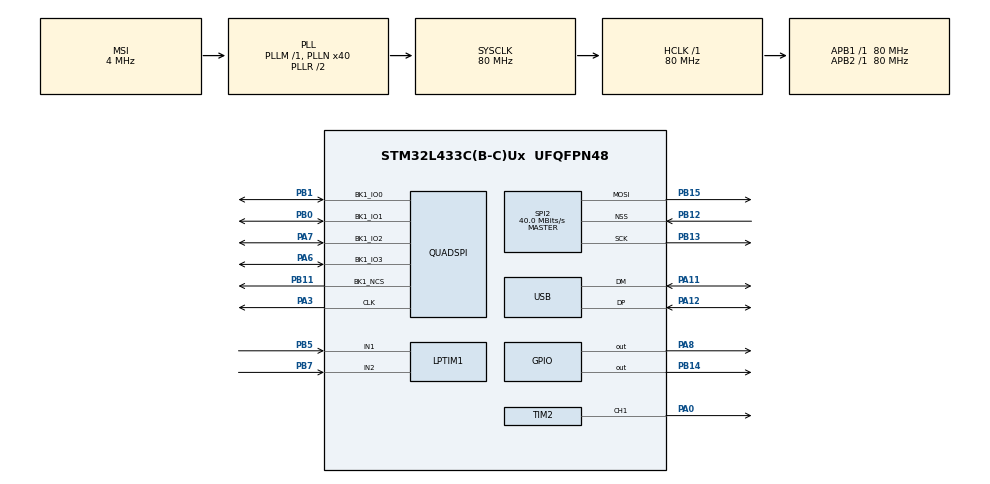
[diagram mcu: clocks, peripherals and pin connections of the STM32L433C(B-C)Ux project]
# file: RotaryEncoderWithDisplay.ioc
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Dma.Request0=SPI2_TX
Dma.SPI2_TX.0.Direction=DMA_MEMORY_TO_PERIPH
Dma.SPI2_TX.0.Instance=DMA1_Channel5
Dma.SPI2_TX.0.MemDataAlignment=DMA_MDATAALIGN_BYTE
Dma.SPI2_TX.0.MemInc=DMA_MINC_ENABLE
Dma.SPI2_TX.0.Mode=DMA_NORMAL
Dma.SPI2_TX.0.PeriphDataAlignment=DMA_PDATAALIGN_BYTE
Dma.SPI2_TX.0.PeriphInc=DMA_PINC_DISABLE
Dma.SPI2_TX.0.Priority=DMA_PRIORITY_LOW
LPTIM1.ULPClockPolarity=LPTIM_CLOCKPOLARITY_RISING_FALLING
Mcu.Family=STM32L4
Mcu.Name=STM32L433C(B-C)Ux
Mcu.Package=UFQFPN48
NVIC.DMA1_Channel5_IRQn=true\:0\:0\:false\:false\:true\:false\:true
NVIC.LPTIM1_IRQn=true\:0\:0\:false\:false\:true\:true\:true
NVIC.PriorityGroup=NVIC_PRIORITYGROUP_4
NVIC.TIM6_DAC_IRQn=true\:1\:0\:true\:false\:true\:true\:true
NVIC.TIM7_IRQn=true\:1\:0\:true\:false\:true\:true\:true
NVIC.USB_IRQn=true\:0\:0\:false\:false\:true\:false\:true
PA0.Signal=S_TIM2_CH1
PA11.Mode=Device
PA11.Signal=USB_DM
PA12.Mode=Device
PA12.Signal=USB_DP
PA13\ (JTMS-SWDIO).Mode=Trace_Asynchronous_SW
PA13\ (JTMS-SWDIO).Signal=SYS_JTMS-SWDIO
PA14\ (JTCK-SWCLK).Mode=Trace_Asynchronous_SW
PA14\ (JTCK-SWCLK).Signal=SYS_JTCK-SWCLK
PA3.Mode=Single Bank 1
PA3.Signal=QUADSPI_CLK
PA6.Mode=Single Bank 1
PA6.Signal=QUADSPI_BK1_IO3
PA7.Mode=Single Bank 1
PA7.Signal=QUADSPI_BK1_IO2
PA8.Signal=GPIO_Output
PB0.Mode=Single Bank 1
PB0.Signal=QUADSPI_BK1_IO1
PB1.Mode=Single Bank 1
PB1.Signal=QUADSPI_BK1_IO0
PB11.Mode=Single Bank 1
PB11.Signal=QUADSPI_BK1_NCS
PB12.Mode=NSS_Signal_Hard_Input
PB12.Signal=SPI2_NSS
PB13.Mode=TX_Only_Simplex_Unidirect_Master
PB13.Signal=SPI2_SCK
PB14.Signal=GPIO_Output
PB15.Mode=TX_Only_Simplex_Unidirect_Master
PB15.Signal=SPI2_MOSI
PB3\ (JTDO-TRACESWO).Mode=Trace_Asynchronous_SW
PB3\ (JTDO-TRACESWO).Signal=SYS_JTDO-SWO
PB5.Mode=Encoder_mode_occur1
PB5.Signal=LPTIM1_IN1
PB7.Mode=Encoder_mode_occur1
PB7.Signal=LPTIM1_IN2
ProjectManager.HeapSize=0x200
ProjectManager.StackSize=0x400
ProjectManager.TargetToolchain=STM32CubeIDE
QUADSPI.ClockPrescaler=1
QUADSPI.FlashSize=24
RCC.ADCFreq_Value=48000000
RCC.AHBFreq_Value=80000000
RCC.APB1Freq_Value=80000000
RCC.APB1TimFreq_Value=80000000
RCC.APB2Freq_Value=80000000
RCC.APB2TimFreq_Value=80000000
RCC.CortexFreq_Value=80000000
RCC.HCLKFreq_Value=80000000
RCC.HSE_VALUE=8000000
RCC.HSI48_VALUE=48000000
RCC.HSI_VALUE=16000000
RCC.LSE_VALUE=32768
RCC.MSI_VALUE=4000000
RCC.PLLN=40
RCC.PLLSAI1N=24
RCC.SYSCLKFreq_VALUE=80000000
RCC.SYSCLKSource=RCC_SYSCLKSOURCE_PLLCLK
RCC.USBFreq_Value=48000000
RCC.VCOOutputFreq_Value=160000000
SH.S_TIM2_CH1.0=TIM2_CH1,PWM Generation1 CH1
SPI2.BaudRatePrescaler=SPI_BAUDRATEPRESCALER_2
SPI2.CalculateBaudRate=40.0 MBits/s
SPI2.DataSize=SPI_DATASIZE_8BIT
SPI2.Direction=SPI_DIRECTION_2LINES
SPI2.Mode=SPI_MODE_MASTER
SPI2.VirtualNSS=VM_NSSHARD
SPI2.VirtualType=VM_MASTER
STMicroelectronics.X-CUBE-TOUCHGFX.4.18.0.ApplicationCcGraphicsJjApplication=TouchGFXOoGenerator
STMicroelectronics.X-CUBE-TOUCHGFX.4.18.0.tgfx_block_size=2880
STMicroelectronics.X-CUBE-TOUCHGFX.4.18.0.tgfx_buffering_strategy=Partial
STMicroelectronics.X-CUBE-TOUCHGFX.4.18.0.tgfx_custom_height=240
STMicroelectronics.X-CUBE-TOUCHGFX.4.18.0.tgfx_custom_width=240
STMicroelectronics.X-CUBE-TOUCHGFX.4.18.0.tgfx_oswrapper=NoOS
STMicroelectronics.X-CUBE-TOUCHGFX.4.18.0_IsPackSelfContextualization=true
TIM2.AutoReloadPreload=TIM_AUTORELOAD_PRELOAD_ENABLE
TIM2.Channel-PWM\ Generation1\ CH1=TIM_CHANNEL_1
TIM2.OCFastMode_PWM-PWM\ Generation1\ CH1=TIM_OCFAST_ENABLE
TIM2.Period=65535
TIM6.AutoReloadPreload=TIM_AUTORELOAD_PRELOAD_ENABLE
TIM6.Period=39800
TIM6.Prescaler=66
TIM7.AutoReloadPreload=TIM_AUTORELOAD_PRELOAD_ENABLE
TIM7.Period=39999
TIM7.Prescaler=1
USB_DEVICE.CLASS_NAME_FS=CUSTOM_HID
USB_DEVICE.USBD_MAX_NUM_INTERFACES=2
USB_DEVICE.VirtualMode=CustomHid
USB_DEVICE.VirtualModeFS=Custom_Hid_FS
VP_CRC_VS_CRC.Mode=CRC_Activate
VP_STMicroelectronics.X-CUBE-TOUCHGFX_VS_GraphicsJjApplication_4.18.0.Mode=GraphicsJjApplication
VP_TIM2_VS_ClockSourceINT.Mode=Internal
VP_TIM6_VS_ClockSourceINT.Mode=Enable_Timer
VP_TIM7_VS_ClockSourceINT.Mode=Enable_Timer
VP_USB_DEVICE_VS_USB_DEVICE_CUSTOM_HID_FS.Mode=CUSTOM_HID_FS
board=custom

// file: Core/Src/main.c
/* USER CODE BEGIN Header */
/**
  ******************************************************************************
  * @file           : main.c
  * @brief          : Main program body
  ******************************************************************************
  * @attention
  *
  * <h2><center>&copy; Copyright (c) 2021 STMicroelectronics.
  * All rights reserved.</center></h2>
  *
  * This software component is licensed by ST under BSD 3-Clause license,
  * the "License"; You may not use this file except in compliance with the
  * License. You may obtain a copy of the License at:
  *                        opensource.org/licenses/BSD-3-Clause
  *
  ******************************************************************************
  */
/* USER CODE END Header */
#include "main.h"
#include "crc.h"
#include "dma.h"
#include "lptim.h"
#include "quadspi.h"
#include "usb_device.h"
#include "gpio.h"
#include "app_touchgfx.h"

/* USER CODE BEGIN Includes */
#include "GC9A01.h"
#include "usbd_cdc_if.h"
#include "usbd_customhid.h"
#include "math.h"
#include "defs.h"
#include "spi.h"
#include "tim.h"

/* USER CODE END Includes */

/* USER CODE BEGIN PD */

#define NONE    (0u)
#define LEFT    (1u)
#define RIGHT   (2u)

#define ENCODER_GOING_UP    (0u)
#define ENCODER_GOING_DOWN  (1u)

#define INPUT_TIMEOUT          (1300u)   // around 2 sec
#define DEMO_RUNNING_TIMEOUT   (48000u)  // around 60 sec
#define MAX_DISPLAY_BRIGHTNESS (65520u)
#define MAX_ENCODER_CNT        (65535u)

// for info
// SELECTED_NONE           (0u)
// SELECTED_BRIGHTNESS     (1u)
// SELECTED_LOCK           (2u)
// SELECTED_VOLUME         (3u)
// SELECTED_TEMP           (4u)
// SELECTED_AUDIO          (5u)

/* USER CODE END PD */

/* USER CODE BEGIN PV */

extern TIM_HandleTypeDef htim2;
extern TIM_HandleTypeDef htim6;
extern TIM_HandleTypeDef htim7;

extern USBD_HandleTypeDef hUsbDeviceFS;

volatile int32_t  volume       = 0;
volatile uint8_t  updateFromPC = 0;
volatile uint8_t  movement     = NONE;
volatile uint32_t steps        = 0;

volatile uint8_t userSelection;

/* USER CODE END PV */

void SystemClock_Config(void);
/* USER CODE BEGIN PFP */
void touchgfxSignalVSync(void);
/* USER CODE END PFP */

/* USER CODE BEGIN 0 */

// global variables for back light operation
volatile uint32_t targetBacklight           = 0;  // 65520 is max brightness
volatile uint8_t  blacklightTransitionReady = 1;  // if this value is not 1 means the back light is in transition from one value to another

#define UPMSG_LEN   (4u)
uint8_t upmsg[UPMSG_LEN] = {'U','P','\r','\n'};

#define DOWNMSG_LEN (6u)
uint8_t downmsg[DOWNMSG_LEN] = {'D','O','W','N','\r','\n'};

void HAL_TIM_PeriodElapsedCallback(TIM_HandleTypeDef *htim)
{
	if (htim->Instance == TIM6)
	{
		touchgfxSignalVSync();
	}

	if (htim->Instance == TIM7)
	{
		if(TIM2->CCR1 > targetBacklight)
		{
			TIM2->CCR1 = TIM2->CCR1 - 70;
		}

		if(TIM2->CCR1 < targetBacklight)
		{
			TIM2->CCR1 = TIM2->CCR1 + 70;
		}

		if(TIM2->CCR1 == targetBacklight)
		{
			blacklightTransitionReady = 1;
		}else{
			blacklightTransitionReady = 0;
		}
	}
}

/* USER CODE END 0 */

int main(void)
{
  /* USER CODE BEGIN 1 */

  // this is for navigation
  uint8_t  clearFlag          = 0;
  uint8_t  i                  = 0;
  uint8_t  tmp                = 0;
  uint32_t countDif           = 0;
  uint32_t currentEncoderVal  = 0;
  uint32_t prevEncoderVal     = 0;
  uint8_t timeout             = 0;
  uint8_t rep[2];
  rep[0] = 0x02;
  rep[1] = 0;

  /* USER CODE END 1 */

  /* MCU Configuration--------------------------------------------------------*/

  /* Reset of all peripherals, Initializes the Flash interface and the Systick. */
  HAL_Init();

  /* Configure the system clock */
  SystemClock_Config();

  /* Initialize all configured peripherals */
  MX_GPIO_Init();
  MX_USB_DEVICE_Init();
  MX_QUADSPI_Init();
  MX_LPTIM1_Init();
  MX_DMA_Init();
  MX_SPI2_Init();
  MX_TIM6_Init();
  MX_CRC_Init();
  MX_TIM2_Init();
  MX_TIM7_Init();
  MX_TouchGFX_Init();
  /* USER CODE BEGIN 2 */

  //for the external flash and memory mapped mode
  CSP_QUADSPI_Init();
  CSP_QSPI_EnableMemoryMappedMode();

  //for the back light PWM and dimming
  TIM2->CCR1 = 0;
  HAL_TIM_PWM_Start(&htim2, TIM_CHANNEL_1);
  HAL_TIM_Base_Start_IT(&htim7);
  TIM2->CCR1 = targetBacklight;

  // init the display driver
  GC9A01_init();

  // this is for the GFX screen refresh
  HAL_TIM_Base_Start_IT(&htim6);

  // for the rotary encoder IP
  HAL_LPTIM_Encoder_Start_IT(&hlptim1, 0xffff);

  //Some sketchy things to make to refresh the screen while the backlight is off
  MX_TouchGFX_Process();

  // turn the backlight on gradually
  targetBacklight = MAX_DISPLAY_BRIGHTNESS;

  /* USER CODE END 2 */

  /* Infinite loop */
  /* USER CODE BEGIN WHILE */
  while (1)
  {
	 // get the latest value of the encoder
	 currentEncoderVal = HAL_LPTIM_ReadCounter(&hlptim1);

	 // check if the user has turned the encoder
	 if(prevEncoderVal != currentEncoderVal)
	 {
		// get the difference between current counter value and the new counter value
		if(currentEncoderVal > prevEncoderVal)
		{
			countDif = currentEncoderVal - prevEncoderVal;
			movement = LEFT;
		}else{
			countDif = prevEncoderVal - currentEncoderVal;
			movement = RIGHT;
		}

		// here we can see if we have overflow of the counter or not
		if(countDif > (MAX_ENCODER_CNT/2))
		{
			// correct for the over/under flow
			countDif = MAX_ENCODER_CNT - countDif; // just subtract from max value

			if(LEFT == movement)
			{
				movement = RIGHT;
			}else{
				movement = LEFT;
			}
		}

		steps = countDif / 2;

		if(0 != steps)
		{
			prevEncoderVal = currentEncoderVal;
		}else{
			movement = NONE;
		}
	 }else{
		 movement = NONE;
	 }

	 switch(movement)
	 {
		 case LEFT:
				CDC_Transmit_FS(downmsg, DOWNMSG_LEN);
				rep[1] = 0x40;
				i = 0;

				if(userSelection == 0)
				{
				    userSelection = 5;
				}else{
				    userSelection--;
				}

				while(i < steps)
				{
					if(1 == updateFromPC)
					{
						if(volume < 2)
						{
							break;
						}

						tmp = USBD_CUSTOM_HID_SendReport(&hUsbDeviceFS, rep, 2);

						if(USBD_OK == tmp)
						{
							i++;
							volume = volume - 2;
						}

						if(USBD_FAIL == tmp)
						{
						    timeout++;
						    if(timeout > 10)
						    {
						        break;
						    }
						}else{
						    timeout = 0;
						}
					}else{
						tmp = USBD_CUSTOM_HID_SendReport(&hUsbDeviceFS, rep, 2);

						if(USBD_OK == tmp)
						{
							i++;
							volume--;
						}

                        if(USBD_FAIL == tmp)
                        {
                            timeout++;
                            if(timeout > 10)
                            {
                                break;
                            }
                        }else{
                            timeout = 0;
                        }
					}
				}

			    break;

		 case RIGHT:
				//volume up
				CDC_Transmit_FS(upmsg, UPMSG_LEN);
				rep[1] = 0x20;
				i = 0;

                if(userSelection == 5)
                {
                    userSelection = 0;
                }else{
                    userSelection++;
                }

				while(i < steps)
				{
					if(1 == updateFromPC)
					{
						tmp = USBD_CUSTOM_HID_SendReport(&hUsbDeviceFS, rep, 2);

						if(USBD_OK == tmp)
						{
							i++;

							if((volume + 2) > 100)
							{
								volume = 100;
								break;
							}else{
								volume = volume + 2;
							}
						}

                        if(USBD_FAIL == tmp)
                        {
                            timeout++;
                            if(timeout > 10)
                            {
                                break;
                            }
                        }else{
                            timeout = 0;
                        }
					}else{
						tmp = USBD_CUSTOM_HID_SendReport(&hUsbDeviceFS, rep, 2);

						if(USBD_OK == tmp)
						{
							i++;
							volume++;
						}

                        if(USBD_FAIL == tmp)
                        {
                            timeout++;
                            if(timeout > 10)
                            {
                                break;
                            }
                        }else{
                            timeout = 0;
                        }
					}
				}
				break;

		 case NONE:
			 if(1 == clearFlag)
			 {
				rep[1] = 0x00;
				USBD_CUSTOM_HID_SendReport(&hUsbDeviceFS, rep, 2);
				clearFlag = 0;
				break;
			 }

		 default:
				rep[1] = 0x00;
				USBD_CUSTOM_HID_SendReport(&hUsbDeviceFS, rep, 2);
				break;
	 }
    /* USER CODE END WHILE */

  MX_TouchGFX_Process();
  }
}

void SystemClock_Config(void)
{
  RCC_OscInitTypeDef RCC_OscInitStruct = {0};
  RCC_ClkInitTypeDef RCC_ClkInitStruct = {0};

  /** Configure the main internal regulator output voltage
  */
  if (HAL_PWREx_ControlVoltageScaling(PWR_REGULATOR_VOLTAGE_SCALE1) != HAL_OK)
  {
    Error_Handler();
  }
  /** Initializes the RCC Oscillators according to the specified parameters
  * in the RCC_OscInitTypeDef structure.
  */
  RCC_OscInitStruct.OscillatorType = RCC_OSCILLATORTYPE_MSI;
  RCC_OscInitStruct.MSIState = RCC_MSI_ON;
  RCC_OscInitStruct.MSICalibrationValue = 0;
  RCC_OscInitStruct.MSIClockRange = RCC_MSIRANGE_6;
  RCC_OscInitStruct.PLL.PLLState = RCC_PLL_ON;
  RCC_OscInitStruct.PLL.PLLSource = RCC_PLLSOURCE_MSI;
  RCC_OscInitStruct.PLL.PLLM = 1;
  RCC_OscInitStruct.PLL.PLLN = 40;
  RCC_OscInitStruct.PLL.PLLP = RCC_PLLP_DIV7;
  RCC_OscInitStruct.PLL.PLLQ = RCC_PLLQ_DIV2;
  RCC_OscInitStruct.PLL.PLLR = RCC_PLLR_DIV2;
  if (HAL_RCC_OscConfig(&RCC_OscInitStruct) != HAL_OK)
  {
    Error_Handler();
  }
  /** Initializes the CPU, AHB and APB buses clocks
  */
  RCC_ClkInitStruct.ClockType = RCC_CLOCKTYPE_HCLK|RCC_CLOCKTYPE_SYSCLK
                              |RCC_CLOCKTYPE_PCLK1|RCC_CLOCKTYPE_PCLK2;
  RCC_ClkInitStruct.SYSCLKSource = RCC_SYSCLKSOURCE_PLLCLK;
  RCC_ClkInitStruct.AHBCLKDivider = RCC_SYSCLK_DIV1;
  RCC_ClkInitStruct.APB1CLKDivider = RCC_HCLK_DIV1;
  RCC_ClkInitStruct.APB2CLKDivider = RCC_HCLK_DIV1;

  if (HAL_RCC_ClockConfig(&RCC_ClkInitStruct, FLASH_LATENCY_4) != HAL_OK)
  {
    Error_Handler();
  }
}

void Error_Handler(void)
{
  __disable_irq();
  while (1)
  {
  }
}
